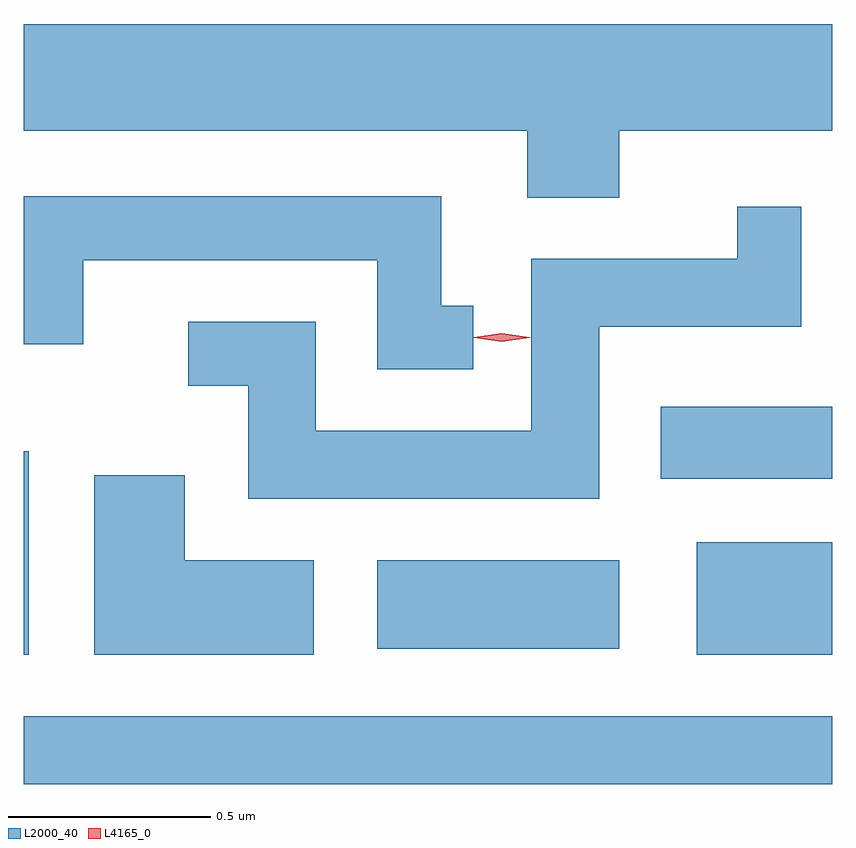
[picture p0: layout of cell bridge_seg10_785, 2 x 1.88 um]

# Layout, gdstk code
import gdstk
lib = gdstk.Library(unit=1e-6, precision=1e-09)
def R(c, l, rs):  # rectangles x0, y0, x1, y1
    for r in rs: c.add(gdstk.rectangle(r[:2], r[2:], *l))
def P(c, l, *ps):  # polygons
    for p in ps: c.add(gdstk.Polygon(p, *l))
L2000_40 = (2000, 40)
L4165_0 = (4165, 0)

bridge_seg10_785 = lib.new_cell('bridge_seg10_785')
R(bridge_seg10_785, L2000_40, [(585.916,2187.781,587.916,2187.949), (585.916,2188.101,585.929,2188.604), (587.581,2188.101,587.916,2188.379), (586.791,2188.116,587.389,2188.334), (587.491,2188.536,587.916,2188.714)])
P(bridge_seg10_785, L2000_40, [(587.389,2189.396),(587.916,2189.396),(587.916,2189.66),(585.916,2189.66),(585.916,2189.396),(587.161,2189.396),(587.161,2189.231),(587.389,2189.231)],
  [(587.028,2188.964),(586.949,2188.964),(586.949,2189.234),(585.916,2189.234),(585.916,2188.868),(586.064,2188.868),(586.064,2189.076),(586.791,2189.076),(586.791,2188.806),(587.028,2188.806)],
  [(587.339,2188.911),(587.839,2188.911),(587.839,2189.208),(587.681,2189.208),(587.681,2189.079),(587.171,2189.079),(587.171,2188.654),(586.639,2188.654),(586.639,2188.924),(586.323,2188.924),(586.323,2188.766),(586.471,2188.766),(586.471,2188.486),(587.339,2188.486)],
  [(586.634,2188.334),(586.314,2188.334),(586.314,2188.544),(586.091,2188.544),(586.091,2188.101),(586.634,2188.101)])
P(bridge_seg10_785, L4165_0, [(587.098,2188.875),(587.029,2188.884),(587.029,2188.885),(587.029,2188.885),(587.098,2188.895),(587.168,2188.885),(587.168,2188.885),(587.168,2188.884)])

lib.write_gds('bridge_seg10_785.gds')
